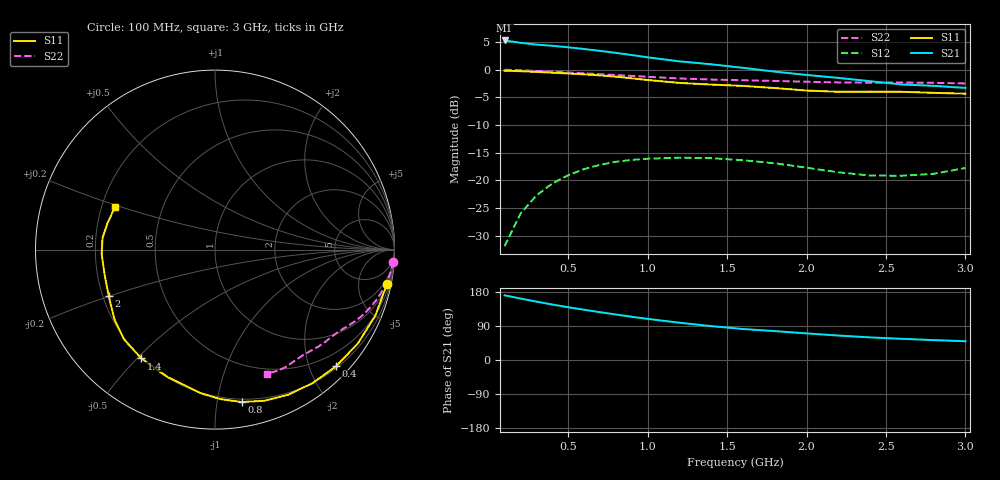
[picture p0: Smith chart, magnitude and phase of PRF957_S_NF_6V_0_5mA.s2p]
! Philips part #:  PRF957  Date:  Nov 1998
! Bias condition:  Vce=6V, Ic=0.5mA
#  MHz  S  MA  R 50
! Freq  S11  S21  S12  S22
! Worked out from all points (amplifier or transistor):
!   20 points, 100 MHz to 3 GHz, reference 50 ohm
!   highest |S21| = 5.2 dB at 100 MHz (marker M1)
!   |S21| within 3 dB of that: start of sweep to 990.2 MHz
!   unconditionally stable (mu >= 1): 2.297 GHz to end of sweep
!   at 400 MHz: K = 0.12, MSG = 12.4 dB, |S12| = -20.6 dB
!   at 1.2 GHz: K = 0.38, MSG = 8.7 dB, |S12| = -15.9 dB
!   at 3 GHz: K = 1.25, MAG = 4.2 dB, |S12| = -17.7 dB
!   lowest NFmin = 0.96 dB at 500 MHz
!   S11 on the Smith chart (normalised r, x): 100 MHz: 1.16, -9.92; 400 MHz: 0.23, -2.46; 800 MHz: 0.18, -1.17; 1.4 GHz: 0.20, -0.51; 2 GHz: 0.22, -0.20; 3 GHz: 0.26, +0.19
100  0.9772 -11.4  1.829 170.8  0.02558 82.8  0.9957 -3.9
200  0.9663 -22.4  1.742 162.2  0.05026 76.4  0.9854 -7.6
300  0.9524 -33.3  1.678 154.1  0.07326 70.3  0.972 -11.1
400  0.9371 -43.9  1.637 146.4  0.09381 64.5  0.9573 -14.4
500  0.9213 -53.9  1.587 139.2  0.1116 59.5  0.9404 -17.6
600  0.9054 -63.3  1.531 132.6  0.1266 54.8  0.9237 -20.4
700  0.8858 -72.0  1.473 126.2  0.1385 50.5  0.9076 -22.9
800  0.8621 -80.1  1.413 120.1  0.1474 46.4  0.892 -25.1
900  0.8335 -87.9  1.352 114.0  0.1532 42.8  0.8758 -27.1
1000  0.805 -95.5  1.289 108.6  0.1571 39.6  0.8604 -29.1
1200  0.7577 -110.4  1.185 98.4  0.1606 34.1  0.8316 -32.8
1400  0.732 -124.1  1.115 89.4  0.159 29.8  0.8121 -36.5
1600  0.7121 -135.4  1.036 81.8  0.1522 27.8  0.801 -40.0
1800  0.6811 -145.5  0.9575 76.2  0.1429 28.0  0.7894 -43.2
2000  0.6465 -156.3  0.8941 70.2  0.1305 29.6  0.7762 -46.6
2200  0.6304 -167.7  0.8407 64.6  0.1185 33.9  0.7652 -50.6
2400  0.6318 -177.6  0.785 59.6  0.1108 41.8  0.762 -55.0
2600  0.6302 174.2  0.7338 55.9  0.1103 52.9  0.764 -59.1
2800  0.6164 166.0  0.713 52.5  0.1148 65.1  0.7594 -62.9
3000  0.6058 156.8  0.6833 49.5  0.1296 75.8  0.7489 -67.3
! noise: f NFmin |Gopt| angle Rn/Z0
500  0.96  0.75  37  0.72
800  1.21  0.72  57  0.66
900  1.44  0.63  63  0.62
1000  1.83  0.61  69  0.62
1500  1.84  0.61  111  0.39
2000  2.43  0.59  162  0.11
